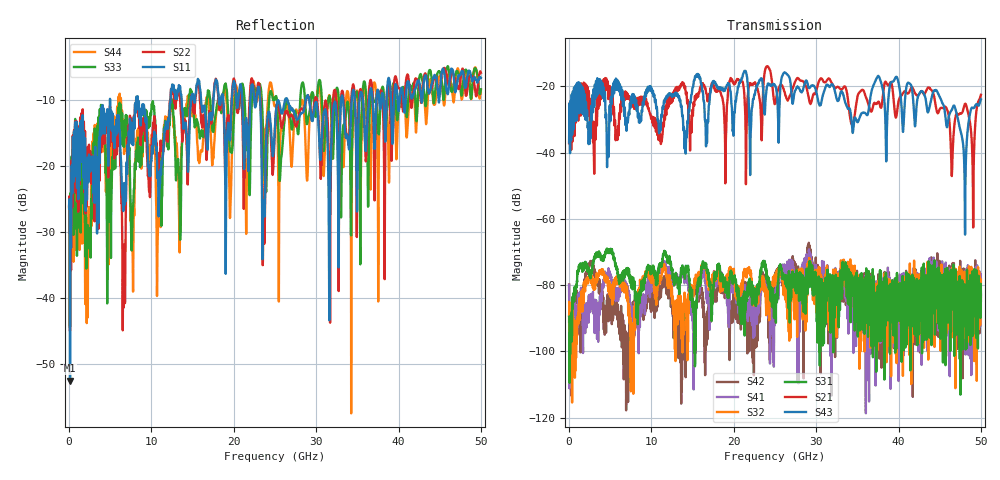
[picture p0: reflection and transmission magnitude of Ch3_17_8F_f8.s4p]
!Agilent Technologies,N5247A,US51170199,A.09.90.13
!Agilent N5247A: A.09.90.13
!Date: Wednesday, December 09, 2015 09:29:30
!Correction: S11(Full 4 Port(1,2,3,4))
!S12(Full 4 Port(1,2,3,4))
!S13(Full 4 Port(1,2,3,4))
!S14(Full 4 Port(1,2,3,4))
!S21(Full 4 Port(1,2,3,4))
!S22(Full 4 Port(1,2,3,4))
!S23(Full 4 Port(1,2,3,4))
!S24(Full 4 Port(1,2,3,4))
!S31(Full 4 Port(1,2,3,4))
!S32(Full 4 Port(1,2,3,4))
!S33(Full 4 Port(1,2,3,4))
!S34(Full 4 Port(1,2,3,4))
!S41(Full 4 Port(1,2,3,4))
!S42(Full 4 Port(1,2,3,4))
!S43(Full 4 Port(1,2,3,4))
!S44(Full 4 Port(1,2,3,4))
!S4P File: Measurements: <S11,S12,S13,S14>,
!<S21,S22,S23,S24>,
!<S31,S32,S33,S34>,
!<S41,S42,S43,S44>:
# Hz S  dB  R 50
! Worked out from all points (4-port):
!   3201 points, 10 MHz to 50 GHz, reference 50 ohm
!   strongest paths, dB at 10 MHz, 12.51 GHz, 25 GHz, 37.5 GHz, 50 GHz:
!     S43: -36.9, -23.0, -19.9, -16.9, -24.0
!     S21: -37.2, -22.5, -25.2, -24.7, -22.6
!     S31: -89.5, -75.0, -87.3, -82.9, -82.8
!     S32: -91.0, -82.1, -79.4, -95.0, -78.3
!     S41: -80.0, -77.4, -85.4, -85.5, -83.4
!     S42: -79.8, -84.1, -78.4, -81.8, -84.7
!   lowest |S11| = -52.4 dB at 119.4 MHz (marker M1), VSWR 1.00, Z = 50.1 + j0.233 ohm
!   |S11| at or under -10 dB: start of sweep to 4.961 GHz; 8.346 GHz to 12.32 GHz (3.974 GHz wide, 38.5 % of centre); 29.17 GHz to 33.04 GHz (3.87 GHz wide, 12.4 % of centre)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
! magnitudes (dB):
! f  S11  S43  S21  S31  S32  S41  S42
! 10 MHz  -26.4  -36.9  -37.2  -89.5  -91.0  -80.0  -79.8
! 119.4 MHz  -52.4  -40.2  -36.2  -99.1  -103.3  -98.7  -95.1
! 24.08 GHz  -12.9  -19.7  -13.9  -78.2  -83.6  -82.0  -83.2
! 39.71 GHz  -7.7  -17.2  -29.4  -88.4  -79.4  -91.8  -96.1
! 48.05 GHz  -8.0  -53.2  -25.4  -91.9  -82.1  -75.7  -92.2
! 49.03 GHz  -6.9  -26.5  -50.6  -78.8  -84.1  -83.0  -90.0
! 50 GHz  -6.6  -24.0  -22.6  -82.8  -78.3  -83.4  -84.7
